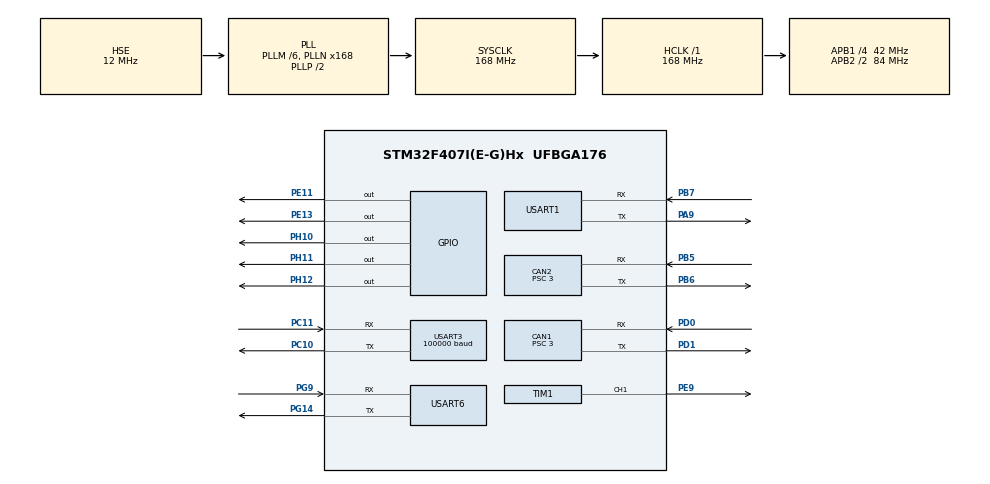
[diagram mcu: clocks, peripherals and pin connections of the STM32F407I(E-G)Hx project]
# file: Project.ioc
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CAN1.ABOM=ENABLE
CAN1.BS1=CAN_BS1_5TQ
CAN1.BS2=CAN_BS2_8TQ
CAN1.CalculateBaudRate=1000000
CAN1.CalculateTimeBit=1000
CAN1.CalculateTimeQuantum=71.42857142857143
CAN1.Mode=CAN_MODE_NORMAL
CAN1.NART=DISABLE
CAN1.Prescaler=3
CAN1.TXFP=DISABLE
CAN2.ABOM=ENABLE
CAN2.BS1=CAN_BS1_5TQ
CAN2.BS2=CAN_BS2_8TQ
CAN2.CalculateBaudRate=1000000
CAN2.CalculateTimeBit=1000
CAN2.CalculateTimeQuantum=71.42857142857143
CAN2.Mode=CAN_MODE_NORMAL
CAN2.Prescaler=3
Dma.Request0=USART3_RX
Dma.Request1=USART1_RX
Dma.Request2=USART1_TX
Dma.USART1_RX.1.Direction=DMA_PERIPH_TO_MEMORY
Dma.USART1_RX.1.FIFOMode=DMA_FIFOMODE_DISABLE
Dma.USART1_RX.1.Instance=DMA2_Stream2
Dma.USART1_RX.1.MemDataAlignment=DMA_MDATAALIGN_BYTE
Dma.USART1_RX.1.MemInc=DMA_MINC_ENABLE
Dma.USART1_RX.1.Mode=DMA_NORMAL
Dma.USART1_RX.1.PeriphDataAlignment=DMA_PDATAALIGN_BYTE
Dma.USART1_RX.1.PeriphInc=DMA_PINC_DISABLE
Dma.USART1_RX.1.Priority=DMA_PRIORITY_HIGH
Dma.USART1_TX.2.Direction=DMA_MEMORY_TO_PERIPH
Dma.USART1_TX.2.FIFOMode=DMA_FIFOMODE_DISABLE
Dma.USART1_TX.2.Instance=DMA2_Stream7
Dma.USART1_TX.2.MemDataAlignment=DMA_MDATAALIGN_BYTE
Dma.USART1_TX.2.MemInc=DMA_MINC_ENABLE
Dma.USART1_TX.2.Mode=DMA_NORMAL
Dma.USART1_TX.2.PeriphDataAlignment=DMA_PDATAALIGN_BYTE
Dma.USART1_TX.2.PeriphInc=DMA_PINC_DISABLE
Dma.USART1_TX.2.Priority=DMA_PRIORITY_MEDIUM
Dma.USART3_RX.0.Direction=DMA_PERIPH_TO_MEMORY
Dma.USART3_RX.0.FIFOMode=DMA_FIFOMODE_DISABLE
Dma.USART3_RX.0.Instance=DMA1_Stream1
Dma.USART3_RX.0.MemDataAlignment=DMA_MDATAALIGN_BYTE
Dma.USART3_RX.0.MemInc=DMA_MINC_ENABLE
Dma.USART3_RX.0.Mode=DMA_CIRCULAR
Dma.USART3_RX.0.PeriphDataAlignment=DMA_PDATAALIGN_BYTE
Dma.USART3_RX.0.PeriphInc=DMA_PINC_DISABLE
Dma.USART3_RX.0.Priority=DMA_PRIORITY_MEDIUM
Mcu.Family=STM32F4
Mcu.Name=STM32F407I(E-G)Hx
Mcu.Package=UFBGA176
NVIC.CAN1_RX0_IRQn=true\:1\:0\:true\:false\:true\:true\:true\:true
NVIC.CAN1_TX_IRQn=true\:1\:0\:true\:false\:true\:true\:true\:true
NVIC.CAN2_RX0_IRQn=true\:1\:0\:true\:false\:true\:true\:true\:true
NVIC.DMA1_Stream1_IRQn=true\:0\:0\:false\:false\:true\:false\:true\:true
NVIC.DMA2_Stream2_IRQn=true\:0\:0\:false\:false\:true\:false\:true\:true
NVIC.DMA2_Stream7_IRQn=true\:0\:0\:false\:false\:true\:false\:true\:true
NVIC.PriorityGroup=NVIC_PRIORITYGROUP_4
NVIC.TIM1_CC_IRQn=true\:0\:0\:false\:false\:true\:true\:true\:true
NVIC.TIM6_DAC_IRQn=true\:1\:0\:true\:false\:true\:true\:true\:true
NVIC.USART1_IRQn=true\:0\:0\:false\:false\:false\:true\:true\:true
NVIC.USART3_IRQn=true\:1\:0\:true\:false\:false\:true\:true\:true
NVIC.USART6_IRQn=true\:0\:0\:false\:false\:true\:true\:true\:true
PA13.Mode=Serial_Wire
PA13.Signal=SYS_JTMS-SWDIO
PA14.Mode=Serial_Wire
PA14.Signal=SYS_JTCK-SWCLK
PA9.Mode=Asynchronous
PA9.Signal=USART1_TX
PB5.Mode=CAN_Activate
PB5.Signal=CAN2_RX
PB6.Mode=CAN_Activate
PB6.Signal=CAN2_TX
PB7.Mode=Asynchronous
PB7.Signal=USART1_RX
PC10.Mode=Asynchronous
PC10.Signal=USART3_TX
PC11.Mode=Asynchronous
PC11.Signal=USART3_RX
PD0.Mode=CAN_Activate
PD0.Signal=CAN1_RX
PD1.Mode=CAN_Activate
PD1.Signal=CAN1_TX
PE11.Signal=GPIO_Output
PE13.Signal=GPIO_Output
PE9.Signal=S_TIM1_CH1
PG14.Mode=Asynchronous
PG14.Signal=USART6_TX
PG9.Mode=Asynchronous
PG9.Signal=USART6_RX
PH0-OSC_IN.Mode=HSE-External-Oscillator
PH0-OSC_IN.Signal=RCC_OSC_IN
PH1-OSC_OUT.Mode=HSE-External-Oscillator
PH1-OSC_OUT.Signal=RCC_OSC_OUT
PH10.GPIO_Speed=GPIO_SPEED_FREQ_VERY_HIGH
PH10.PinState=GPIO_PIN_RESET
PH10.Signal=GPIO_Output
PH11.GPIO_Speed=GPIO_SPEED_FREQ_VERY_HIGH
PH11.PinState=GPIO_PIN_RESET
PH11.Signal=GPIO_Output
PH12.GPIO_Speed=GPIO_SPEED_FREQ_VERY_HIGH
PH12.PinState=GPIO_PIN_RESET
PH12.Signal=GPIO_Output
ProjectManager.HeapSize=0x200
ProjectManager.StackSize=0x400
ProjectManager.TargetToolchain=MDK-ARM V5
RCC.48MHZClocksFreq_Value=84000000
RCC.AHBFreq_Value=168000000
RCC.APB1CLKDivider=RCC_HCLK_DIV4
RCC.APB1Freq_Value=42000000
RCC.APB1TimFreq_Value=84000000
RCC.APB2CLKDivider=RCC_HCLK_DIV2
RCC.APB2Freq_Value=84000000
RCC.APB2TimFreq_Value=168000000
RCC.CortexFreq_Value=168000000
RCC.HCLKFreq_Value=168000000
RCC.HSE_VALUE=12000000
RCC.HSI_VALUE=16000000
RCC.LSE_VALUE=32768
RCC.PLLM=6
RCC.PLLN=168
RCC.PLLSourceVirtual=RCC_PLLSOURCE_HSE
RCC.SYSCLKFreq_VALUE=168000000
RCC.SYSCLKSource=RCC_SYSCLKSOURCE_PLLCLK
RCC.VCOOutputFreq_Value=336000000
SH.S_TIM1_CH1.0=TIM1_CH1,PWM Generation1 CH1
TIM1.Channel-PWM\ Generation1\ CH1=TIM_CHANNEL_1
TIM1.Period=19999
TIM1.Prescaler=167
TIM6.Period=1000-1
TIM6.Prescaler=84-1
USART1.VirtualMode=VM_ASYNC
USART3.BaudRate=100000
USART3.VirtualMode=VM_ASYNC
USART6.VirtualMode=VM_ASYNC
VP_TIM1_VS_ClockSourceINT.Mode=Internal
VP_TIM6_VS_ClockSourceINT.Mode=Enable_Timer
board=custom

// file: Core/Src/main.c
/* USER CODE BEGIN Header */
/**
  ******************************************************************************
  * @file           : main.c
  * @brief          : Main program body
  ******************************************************************************
  * @attention
  *
  * <h2><center>&copy; Copyright (c) 2023 STMicroelectronics.
  * All rights reserved.</center></h2>
  *
  * This software component is licensed by ST under BSD 3-Clause license,
  * the "License"; You may not use this file except in compliance with the
  * License. You may obtain a copy of the License at:
  *                        opensource.org/licenses/BSD-3-Clause
  *
  ******************************************************************************
  */
/* USER CODE END Header */
#include "main.h"
#include "can.h"
#include "dma.h"
#include "tim.h"
#include "usart.h"
#include "gpio.h"

/* USER CODE BEGIN Includes */
#include "bsp_can.h"
#include "bsp_led.h"
#include "DR16.h"
#include "UpperBoard.h"
#include "bsp_referee.h"
#include "motor.h"
#include "referee.h"
#include "referee_UI.h"
/* USER CODE END Includes */

void SystemClock_Config(void);

int main(void)
{

  /* MCU Configuration--------------------------------------------------------*/

  /* Reset of all peripherals, Initializes the Flash interface and the Systick. */
  HAL_Init();

  /* Configure the system clock */
  SystemClock_Config();

  /* Initialize all configured peripherals */
  MX_GPIO_Init();
  MX_DMA_Init();
  MX_CAN1_Init();
  MX_TIM6_Init();
  MX_CAN2_Init();
  MX_USART3_UART_Init();
  MX_USART6_UART_Init();
  MX_TIM1_Init();
  MX_USART1_UART_Init();

  /* Infinite loop */
  /* USER CODE BEGIN WHILE */
	CAN_Filter_Config();
	remote_control_init();
	motor_angle_init();
	HAL_TIM_Base_Start_IT(&htim6);//开启定时器6
	HAL_UART_Receive_IT(&huart6, (uint8_t *)&UpperBoard_Data, 1);
	referee_usart_fifo_init();
	init_referee_struct_data();
  while (1)
  {
	  referee_usart_task();
	  HAL_Delay(1);
		//HAL_UART_Transmit(&huart1, UpperBoard_Data, 16, 1000);
    /* USER CODE END WHILE */

  }
}

void SystemClock_Config(void)
{
  RCC_OscInitTypeDef RCC_OscInitStruct = {0};
  RCC_ClkInitTypeDef RCC_ClkInitStruct = {0};

  /** Configure the main internal regulator output voltage
  */
  __HAL_RCC_PWR_CLK_ENABLE();
  __HAL_PWR_VOLTAGESCALING_CONFIG(PWR_REGULATOR_VOLTAGE_SCALE1);

  /** Initializes the RCC Oscillators according to the specified parameters
  * in the RCC_OscInitTypeDef structure.
  */
  RCC_OscInitStruct.OscillatorType = RCC_OSCILLATORTYPE_HSE;
  RCC_OscInitStruct.HSEState = RCC_HSE_ON;
  RCC_OscInitStruct.PLL.PLLState = RCC_PLL_ON;
  RCC_OscInitStruct.PLL.PLLSource = RCC_PLLSOURCE_HSE;
  RCC_OscInitStruct.PLL.PLLM = 6;
  RCC_OscInitStruct.PLL.PLLN = 168;
  RCC_OscInitStruct.PLL.PLLP = RCC_PLLP_DIV2;
  RCC_OscInitStruct.PLL.PLLQ = 4;
  if (HAL_RCC_OscConfig(&RCC_OscInitStruct) != HAL_OK)
  {
    Error_Handler();
  }

  /** Initializes the CPU, AHB and APB buses clocks
  */
  RCC_ClkInitStruct.ClockType = RCC_CLOCKTYPE_HCLK|RCC_CLOCKTYPE_SYSCLK
                              |RCC_CLOCKTYPE_PCLK1|RCC_CLOCKTYPE_PCLK2;
  RCC_ClkInitStruct.SYSCLKSource = RCC_SYSCLKSOURCE_PLLCLK;
  RCC_ClkInitStruct.AHBCLKDivider = RCC_SYSCLK_DIV1;
  RCC_ClkInitStruct.APB1CLKDivider = RCC_HCLK_DIV4;
  RCC_ClkInitStruct.APB2CLKDivider = RCC_HCLK_DIV2;

  if (HAL_RCC_ClockConfig(&RCC_ClkInitStruct, FLASH_LATENCY_5) != HAL_OK)
  {
    Error_Handler();
  }
}

void Error_Handler(void)
{
  __disable_irq();
  while (1)
  {
  }
}
